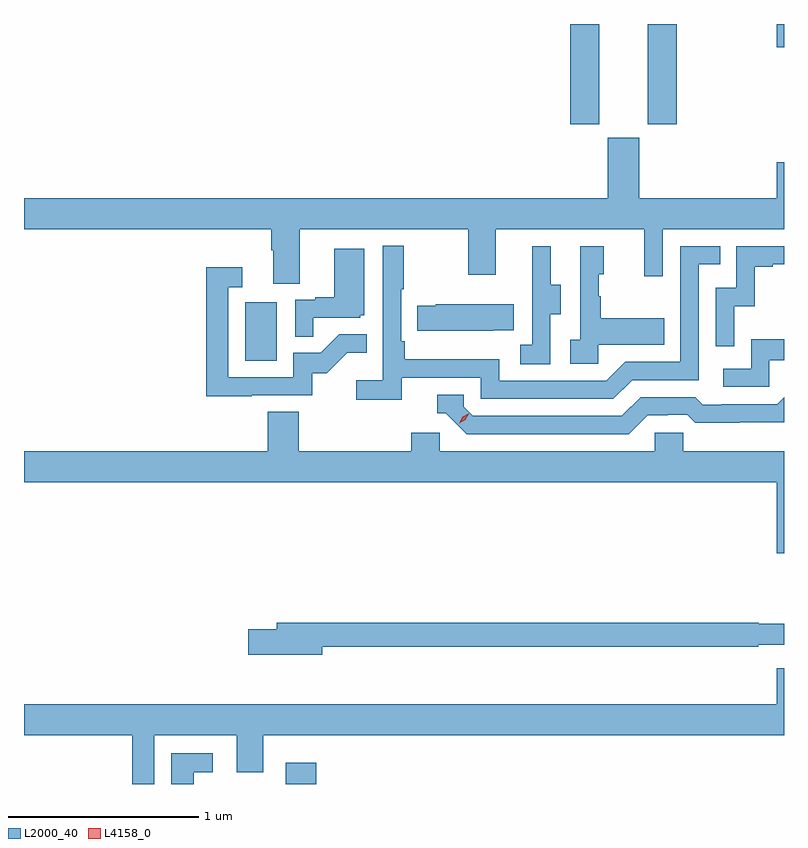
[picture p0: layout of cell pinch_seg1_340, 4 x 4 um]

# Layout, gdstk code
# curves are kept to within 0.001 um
import gdstk
lib = gdstk.Library(unit=1e-6, precision=1e-09)
def R(c, l, rs):  # rectangles x0, y0, x1, y1
    for r in rs: c.add(gdstk.rectangle(r[:2], r[2:], *l))
def P(c, l, *ps):  # polygons
    for p in ps: c.add(gdstk.Polygon(p, *l))
L2000_40 = (2000, 40)
L4158_0 = (4158, 0)

pinch_seg1_340 = lib.new_cell('pinch_seg1_340')
R(pinch_seg1_340, L2000_40, [(965.621,544.816,965.782,544.927), (965.408,547.044,965.572,547.351), (967.118,548.289,967.27,548.816), (967.526,548.289,967.679,548.816), (968.204,548.694,968.243,548.816)])
P(pinch_seg1_340, L2000_40, [(965.695,547.736),(966.58,547.736),(966.58,547.497),(966.727,547.497),(966.727,547.736),(967.508,547.736),(967.508,547.488),(967.605,547.488),(967.605,547.736),(968.243,547.736),(968.243,548.089),(968.204,548.089),(968.204,547.9),(967.48,547.9),(967.48,548.217),(967.316,548.217),(967.316,547.9),(964.243,547.9),(964.243,547.736),(965.543,547.736),(965.543,547.624),(965.555,547.624),(965.555,547.45),(965.695,547.45)],
  [(966.23,546.954),(966.648,546.954),(966.648,546.843),(967.345,546.843),(967.444,546.942),(967.794,546.942),(967.794,547.551),(967.907,547.551),(967.907,547.647),(967.698,547.647),(967.698,547.038),(967.407,547.038),(967.308,546.939),(966.744,546.939),(966.744,547.051),(966.248,547.051),(966.248,547.147),(966.228,547.147),(966.228,547.42),(966.241,547.42),(966.241,547.648),(966.132,547.648),(966.132,546.94),(965.991,546.94),(965.991,546.838),(966.23,546.838)],
  [(967.98,547.331),(968.09,547.331),(968.09,547.539),(968.185,547.539),(968.185,547.551),(968.243,547.551),(968.243,547.647),(967.992,547.647),(967.992,547.428),(967.884,547.428),(967.884,547.119),(967.98,547.119)],
  [(967.266,547.127),(967.613,547.127),(967.613,547.267),(967.279,547.267),(967.279,547.382),(967.269,547.382),(967.269,547.5),(967.294,547.5),(967.294,547.645),(967.17,547.645),(967.17,547.154),(967.119,547.154),(967.119,547.029),(967.266,547.029)],
  [(967.014,547.288),(967.069,547.288),(967.069,547.443),(967.015,547.443),(967.015,547.645),(966.917,547.645),(966.917,547.431),(966.918,547.431),(966.918,547.127),(966.855,547.127),(966.855,547.024),(967.014,547.024)],
  [(965.765,547.269),(966.012,547.269),(966.012,547.284),(966.034,547.284),(966.034,547.633),(965.876,547.633),(965.876,547.378),(965.777,547.378),(965.777,547.365),(965.67,547.365),(965.67,547.171),(965.765,547.171)],
  [(965.441,546.861),(965.76,546.861),(965.76,546.978),(965.836,546.978),(965.943,547.085),(966.047,547.085),(966.047,547.184),(965.903,547.184),(965.805,547.086),(965.661,547.086),(965.661,546.957),(965.319,546.957),(965.319,547.431),(965.392,547.431),(965.392,547.537),(965.203,547.537),(965.203,546.856),(965.441,546.856)],
  [(966.713,547.205),(966.821,547.205),(966.821,547.342),(966.411,547.342),(966.411,547.332),(966.313,547.332),(966.313,547.202),(966.713,547.202)],
  [(968.166,547.047),(968.243,547.047),(968.243,547.156),(968.07,547.156),(968.07,547.002),(967.923,547.002),(967.923,546.906),(968.166,546.906)],
  [(967.525,546.756),(967.632,546.756),(967.632,546.759),(967.735,546.759),(967.777,546.717),(968.243,546.719),(968.243,546.851),(968.208,546.816),(967.915,546.816),(967.915,546.813),(967.816,546.813),(967.777,546.852),(967.488,546.852),(967.389,546.753),(966.606,546.753),(966.558,546.801),(966.558,546.864),(966.419,546.864),(966.419,546.768),(966.462,546.768),(966.573,546.657),(967.426,546.657)],
  [(968.243,546.568),(967.713,546.568),(967.713,546.666),(967.563,546.666),(967.563,546.568),(966.432,546.568),(966.432,546.666),(966.281,546.666),(966.281,546.568),(965.69,546.568),(965.69,546.776),(965.525,546.776),(965.525,546.568),(964.243,546.568),(964.243,546.404),(968.204,546.404),(968.204,546.03),(968.243,546.03)],
  [(965.812,545.538),(968.108,545.538),(968.108,545.55),(968.243,545.55),(968.243,545.659),(968.11,545.659),(968.11,545.666),(965.573,545.666),(965.573,545.63),(965.424,545.63),(965.424,545.495),(965.812,545.495)],
  [(964.929,545.072),(965.363,545.072),(965.363,544.878),(965.503,544.878),(965.503,545.072),(968.243,545.072),(968.243,545.425),(968.204,545.425),(968.204,545.236),(964.243,545.236),(964.243,545.072),(964.813,545.072),(964.813,544.816),(964.929,544.816)],
  [(965.137,544.877),(965.236,544.877),(965.236,544.978),(965.018,544.978),(965.018,544.816),(965.137,544.816)])
P(pinch_seg1_340, L4158_0, [(966.535,546.715),(966.535,546.716),(966.551,546.748),(966.582,546.766),(966.583,546.766),(966.583,546.766),(966.566,546.734),(966.535,546.715)])

lib.write_gds('pinch_seg1_340.gds')
